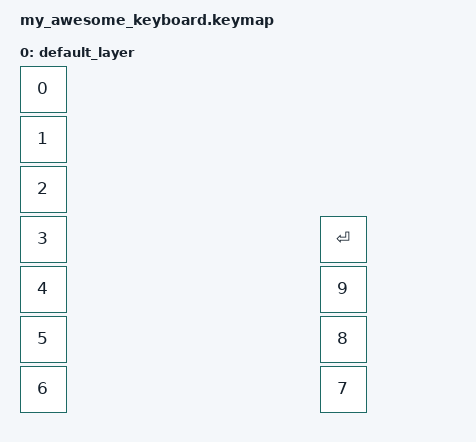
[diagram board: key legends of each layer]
/*
* Copyright (c) 2025 The ZMK Contributors
*
* SPDX-License-Identifier: MIT
*/

#include <behaviors.dtsi>
#include <dt-bindings/zmk/keys.h>
#include <behaviors/runtime-input-processor.dtsi>

&mmv_input_listener {
	input-processors = <&mouse_runtime_input_processor>;
};

&msc_input_listener {
	input-processors = <&scroll_runtime_input_processor>;
};

/ {
	keymap {
		compatible = "zmk,keymap";

		default_layer {
			bindings = <
			&kp N0
			&kp N1
			&kp N2
			&kp N3
			&kp N4
			&kp N5
			&kp N6
			&kp N7
			&kp N8
			&kp N9
			&kp ENTER
			>;
		};
	};
};
